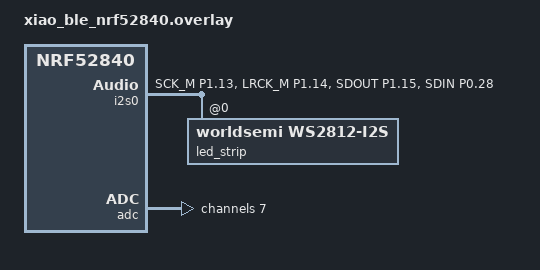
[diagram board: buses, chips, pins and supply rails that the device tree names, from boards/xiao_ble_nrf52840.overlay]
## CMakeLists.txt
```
cmake_minimum_required(VERSION 3.20.0)
find_package(Zephyr REQUIRED HINTS $ENV{ZEPHYR_BASE})
project(ws2812b_led_strip)

target_sources(app PRIVATE
    src/main.c
    src/battery_monitor.c
    src/ble.c
    src/led_matrix_16x16.c
)
```

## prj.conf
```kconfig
# LED strip driver (I2S backend — precise WS2812B timing)
CONFIG_LED_STRIP=y
CONFIG_WS2812_STRIP_I2S=y

# Bluetooth
CONFIG_BT=y
CONFIG_BT_PERIPHERAL=y
CONFIG_BT_DEVICE_NAME="Bike_LED"

# Shorter range (~few m) and slightly lower current; SoftDevice uses antenna dBm here.
CONFIG_BT_CTLR_TX_PWR_ANTENNA=-16

# ADC for batter monitoring
CONFIG_ADC=y
CONFIG_ADC_NRFX_SAADC=y

# USB serial console (CDC ACM)
CONFIG_USB_DEVICE_STACK_NEXT=y
CONFIG_USBD_CDC_ACM_CLASS=y
CONFIG_CDC_ACM_SERIAL_INITIALIZE_AT_BOOT=y
CONFIG_USB_DEVICE_STACK=n
CONFIG_SERIAL=y
CONFIG_CONSOLE=y
CONFIG_UART_CONSOLE=y
CONFIG_UART_LINE_CTRL=y
CONFIG_PRINTK=y

# Logging
CONFIG_LOG=y
CONFIG_LOG_BACKEND_UART=y
```

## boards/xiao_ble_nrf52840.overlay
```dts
#include <dt-bindings/led/led.h>

/*
 * WS2812B LED strip driven via I2S SDOUT on XIAO BLE pin D10 (P1.15).
 *
 * The I2S peripheral produces exact timing for the WS2812B protocol,
 * unlike SPI which only approximates it.
 *
 * I2S also drives clock signals on SCK (D8) and LRCK (D9) — leave
 * those pins unconnected. SDIN (D2) is unused input.
 *
 * XIAO BLE header pin mapping:
 *   D0=P0.02  D1=P0.03  D2=P0.28  D3=P0.29  D4=P0.04  D5=P0.05
 *   D6=P1.11  D7=P1.12  D8=P1.13  D9=P1.14  D10=P1.15
 */

&spi2 {
	status = "disabled";
};

&pinctrl {
	i2s0_default: i2s0_default {
		group1 {
			psels = <NRF_PSEL(I2S_SCK_M, 1, 13)>,
				<NRF_PSEL(I2S_LRCK_M, 1, 14)>,
				<NRF_PSEL(I2S_SDOUT, 1, 15)>,
				<NRF_PSEL(I2S_SDIN, 0, 28)>;
		};
	};
};

&i2s0 {
	status = "okay";
	pinctrl-0 = <&i2s0_default>;
	pinctrl-names = "default";

	led_strip: ws2812@0 {
		compatible = "worldsemi,ws2812-i2s";
		reg = <0>;
		chain-length = <256>;
		color-mapping = <LED_COLOR_ID_GREEN
				 LED_COLOR_ID_RED
				 LED_COLOR_ID_BLUE>;
		reset-delay = <500>;
	};
};

/ {
	aliases {
		led-strip = &led_strip;
	};
};


&adc {
    status = "okay";
    #address-cells = <1>;
    #size-cells = <0>;

    channel@7 {
        reg = <7>;
        zephyr,gain = "ADC_GAIN_1_6";
        zephyr,reference = "ADC_REF_INTERNAL";
        zephyr,acquisition-time = <ADC_ACQ_TIME_DEFAULT>;
        zephyr,input-positive = <NRF_SAADC_AIN7>;  /* P0.31 */
        zephyr,resolution = <12>;
    };
};
```

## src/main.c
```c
#include <stdbool.h>
#include <zephyr/kernel.h>
#include <zephyr/sys/util.h>
#include <hal/nrf_i2s.h>
#include "battery_monitor.h"
#include "ble.h"
#include "led_matrix_16x16.h"

/*
 * After a soft reset, peripheral PSEL registers can persist. The board's
 * default SPI2 uses the same pins as our I2S output, so disconnect both
 * before driver init to leave the pin mux in a clean state.
 */
static int peripheral_force_reset(void)
{
	nrf_i2s_task_trigger(NRF_I2S0, NRF_I2S_TASK_STOP);
	nrf_i2s_disable(NRF_I2S0);

	NRF_SPIM2->ENABLE = 0;
	NRF_SPIM2->PSEL.SCK = 0xFFFFFFFFUL;
	NRF_SPIM2->PSEL.MOSI = 0xFFFFFFFFUL;
	NRF_SPIM2->PSEL.MISO = 0xFFFFFFFFUL;

	NRF_SPI2->ENABLE = 0;
	NRF_SPI2->PSEL.SCK = 0xFFFFFFFFUL;
	NRF_SPI2->PSEL.MOSI = 0xFFFFFFFFUL;
	NRF_SPI2->PSEL.MISO = 0xFFFFFFFFUL;

	return 0;
}

SYS_INIT(peripheral_force_reset, PRE_KERNEL_1, 0);

static void battery_check_work_handler(struct k_work *work);
static K_WORK_DELAYABLE_DEFINE(battery_check_work, battery_check_work_handler);

static void battery_check_work_handler(struct k_work *work)
{
	ARG_UNUSED(work);

	int mv = battery_monitor_read_mv();
	battery_monitor_update_leds(mv);
	if (mv < 0) {
		printk("Battery read failed: %d\n", mv);
	} else {
		printk("Battery: %d mV\n", mv);
	}

	(void)k_work_schedule(&battery_check_work, K_SECONDS(60));
}

/* --- Main Loop --- */

int main(void)
{
	int err;
	uint32_t frame = 0;

	/* Init LED matrix */
	err = led_matrix_16x16_init();
	if (err) {
		return -1;
	}

	/* Initialize Bluetooth */
	err = ble_init();
	if (err) {
		return -1;
	}

	/* Initialize battery monitor */
	err = battery_monitor_init();
	if (err) {
		return -1;
	}
	(void)k_work_schedule(&battery_check_work, K_SECONDS(5));

	while (1) {
		if (!ble_is_active()) {
			(void)led_matrix_16x16_clear_and_show();
			frame = 0;
			ble_wait_for_active();
			continue;
		}

		switch (ble_get_mode()) {
		case STATE_LEFT:
			led_matrix_16x16_draw_left(frame);
			break;
		case STATE_RIGHT:
			led_matrix_16x16_draw_right(frame);
			break;
		case STATE_FORWARD:
		default:
			led_matrix_16x16_draw_forward(frame);
			break;
		}
		(void)led_matrix_16x16_show();
		frame++;
		k_msleep(LED_MATRIX_16X16_FRAME_DELAY_MS);
	}
	return 0;
}
```

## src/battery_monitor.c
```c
#include "battery_monitor.h"

#include <zephyr/kernel.h>
#include <zephyr/drivers/adc.h>
#include <zephyr/drivers/gpio.h>
#include <zephyr/dt-bindings/adc/nrf-saadc.h>

/* --- Voltage thresholds --- */
#define BATTERY_LOW_MV      3400
#define BATTERY_DEAD_MV     3200

/* --- ADC config --- */
#define ADC_RESOLUTION      12
#define ADC_VREF_MV         600
#define ADC_GAIN_FACTOR     6
#define R_TOP_KOHM          1000   /* R16 = 1M  */
#define R_BOT_KOHM          510    /* R17 = 510k */

/* --- Pins --- */
#define READ_BAT_PIN        14     /* P0.14 — sink low to enable divider */

static const struct device *adc_dev  = DEVICE_DT_GET(DT_NODELABEL(adc));
static const struct device *gpio_dev = DEVICE_DT_GET(DT_NODELABEL(gpio0));

#define LED0_NODE DT_ALIAS(led0)
#define LED1_NODE DT_ALIAS(led1)
#define LED2_NODE DT_ALIAS(led2)

static const struct gpio_dt_spec led0 = GPIO_DT_SPEC_GET(LED0_NODE, gpios);
static const struct gpio_dt_spec led1 = GPIO_DT_SPEC_GET(LED1_NODE, gpios);
static const struct gpio_dt_spec led2 = GPIO_DT_SPEC_GET(LED2_NODE, gpios);

static int16_t adc_buf;
static struct adc_sequence adc_seq = {
    .buffer      = &adc_buf,
    .buffer_size = sizeof(adc_buf),
    .resolution  = ADC_RESOLUTION,
};

/* --- Internal helpers --- */

static void read_enable(bool enable)
{
    if (enable) {
        gpio_pin_configure(gpio_dev, READ_BAT_PIN, GPIO_OUTPUT_LOW);
    } else {
        gpio_pin_configure(gpio_dev, READ_BAT_PIN, GPIO_DISCONNECTED);
    }
}

/* --- Public API --- */

int battery_monitor_init(void)
{
    if (!device_is_ready(adc_dev)) {
        return -ENODEV;
    }

    if (!device_is_ready(gpio_dev)) {
        return -ENODEV;
    }

    /* Configure LEDs */
    gpio_pin_configure_dt(&led0, GPIO_OUTPUT_INACTIVE);
    gpio_pin_configure_dt(&led1, GPIO_OUTPUT_INACTIVE);
    gpio_pin_configure_dt(&led2, GPIO_OUTPUT_INACTIVE);

    /* Start with divider disabled */
    read_enable(false);

    /* Setup ADC channel */
    struct adc_channel_cfg ch_cfg = {
        .gain             = ADC_GAIN_1_6,
        .reference        = ADC_REF_INTERNAL,
        .acquisition_time = ADC_ACQ_TIME_DEFAULT,
        .channel_id       = 7,
        .input_positive   = NRF_SAADC_AIN7,  /* P0.31 */
    };

    int err = adc_channel_setup(adc_dev, &ch_cfg);
    if (err) {
        return err;
    }

    adc_seq.channels = BIT(7);

    return 0;
}

int battery_monitor_read_mv(void)
{
    read_enable(true);
    k_msleep(5);  /* let divider settle */

    int err = adc_read(adc_dev, &adc_seq);
    read_enable(false);

    if (err) {
        return err;
    }

    int32_t mv = adc_buf;
    adc_raw_to_millivolts(ADC_VREF_MV, ADC_GAIN_1_6, ADC_RESOLUTION, &mv);

    /* Scale up through divider */
    int voltage = (int)(mv * (R_TOP_KOHM + R_BOT_KOHM) / R_BOT_KOHM);

    return voltage;
}

void battery_monitor_update_leds(int mv)
{
    if (mv < 0) {
        return;
    }

    if (mv < BATTERY_DEAD_MV) {
        gpio_pin_set_dt(&led0, 1);
        gpio_pin_set_dt(&led1, 1);
        gpio_pin_set_dt(&led2, 1);
    } else if (mv < BATTERY_LOW_MV) {
        gpio_pin_set_dt(&led0, 1);
        gpio_pin_set_dt(&led1, 0);
        gpio_pin_set_dt(&led2, 0);
    } else {
        gpio_pin_set_dt(&led0, 0);
        gpio_pin_set_dt(&led1, 0);
        gpio_pin_set_dt(&led2, 0);
    }
}
```

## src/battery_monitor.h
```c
#ifndef BATTERY_MONITOR_H
#define BATTERY_MONITOR_H

#include <stdint.h>

/**
 * @brief Initialize battery monitor (ADC + enable pin)
 * @return 0 on success, negative errno on failure
 */
int battery_monitor_init(void);

/**
 * @brief Read battery voltage
 * @return voltage in millivolts, or -1 on error
 */
int battery_monitor_read_mv(void);

/**
 * @brief Update onboard LEDs based on voltage
 * @param mv voltage in millivolts from battery_monitor_read_mv()
 */
void battery_monitor_update_leds(int mv);

#endif /* BATTERY_MONITOR_H */
```

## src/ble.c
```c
#include "ble.h"

#include <errno.h>

#include <zephyr/bluetooth/bluetooth.h>
#include <zephyr/bluetooth/conn.h>
#include <zephyr/bluetooth/gatt.h>
#include <zephyr/bluetooth/hci.h>
#include <zephyr/bluetooth/uuid.h>
#include <zephyr/kernel.h>
#include <zephyr/sys/util.h>

static volatile bool ble_connected;
static volatile bool leds_active;
static volatile enum bike_state current_mode = STATE_FORWARD;

static K_SEM_DEFINE(wake_sem, 0, 16);

static struct bt_uuid_128 bike_svc_uuid = BT_UUID_INIT_128(
	BT_UUID_128_ENCODE(0x12345678, 0x1234, 0x5678, 0x1234, 0x567812345678));

static struct bt_uuid_128 bike_char_uuid = BT_UUID_INIT_128(
	BT_UUID_128_ENCODE(0x12345678, 0x1234, 0x5678, 0x1234, 0x567812345679));

static ssize_t write_bike_mode(struct bt_conn *conn, const struct bt_gatt_attr *attr,
			       const void *buf, uint16_t len, uint16_t offset, uint8_t flags)
{
	ARG_UNUSED(conn);
	ARG_UNUSED(attr);
	ARG_UNUSED(offset);
	ARG_UNUSED(flags);

	if (len < 1) {
		return len;
	}

	const uint8_t *value = buf;

	switch (value[0]) {
	case 0:
		leds_active = false;
		break;
	case 1:
		leds_active = true;
		current_mode = STATE_FORWARD;
		break;
	case 2:
		leds_active = true;
		current_mode = STATE_LEFT;
		break;
	case 3:
		leds_active = true;
		current_mode = STATE_RIGHT;
		break;
	default:
		break;
	}

	k_sem_give(&wake_sem);
	return len;
}

static const struct bt_data ad[] = {
	BT_DATA_BYTES(BT_DATA_FLAGS, (BT_LE_AD_GENERAL | BT_LE_AD_NO_BREDR)),
	BT_DATA_BYTES(BT_DATA_UUID128_ALL,
		      BT_UUID_128_ENCODE(0x12345678, 0x1234, 0x5678, 0x1234, 0x567812345678)),
};

static const struct bt_data sd[] = {
	BT_DATA(BT_DATA_NAME_COMPLETE, CONFIG_BT_DEVICE_NAME, sizeof(CONFIG_BT_DEVICE_NAME) - 1),
};

/*
 * BLE advertising interval unit = 0.625 ms
 * 5000 ms / 0.625 = 8000 = 0x1F40
 */
static const struct bt_le_adv_param slow_adv_params =
	BT_LE_ADV_PARAM_INIT(BT_LE_ADV_OPT_CONN, 0x1F40, 0x1F40, NULL);

static void restart_adv_work_handler(struct k_work *work);
static K_WORK_DELAYABLE_DEFINE(restart_adv_work, restart_adv_work_handler);

static void switch_to_slow_adv(struct k_work *work)
{
	ARG_UNUSED(work);
	(void)bt_le_adv_stop();
	(void)bt_le_adv_start(&slow_adv_params, ad, ARRAY_SIZE(ad), sd, ARRAY_SIZE(sd));
}

static K_WORK_DELAYABLE_DEFINE(slow_adv_work, switch_to_slow_adv);

static void restart_adv_work_handler(struct k_work *work)
{
	int err;
	ARG_UNUSED(work);

	(void)bt_le_adv_stop();
	err = bt_le_adv_start(BT_LE_ADV_CONN_FAST_1, ad, ARRAY_SIZE(ad), sd, ARRAY_SIZE(sd));
	if (err == 0 || err == -EALREADY) {
		/* start fast, schedule slowdown after 30s */
		(void)k_work_schedule(&slow_adv_work, K_SECONDS(30));
		return;
	}

	(void)k_work_schedule(&restart_adv_work, K_MSEC(250));
}

static void on_connected(struct bt_conn *conn, uint8_t err)
{
	ARG_UNUSED(conn);

	if (err == 0) {
		ble_connected = true;
		k_sem_give(&wake_sem);
	}
}

static void on_disconnected(struct bt_conn *conn, uint8_t reason)
{
	ARG_UNUSED(conn);
	ARG_UNUSED(reason);

	ble_connected = false;
	leds_active = false;
	k_sem_give(&wake_sem);
	(void)k_work_schedule(&restart_adv_work, K_MSEC(150));
}

BT_CONN_CB_DEFINE(conn_callbacks) = {
	.connected = on_connected,
	.disconnected = on_disconnected,
};

BT_GATT_SERVICE_DEFINE(bike_svc,
	BT_GATT_PRIMARY_SERVICE(&bike_svc_uuid),
	BT_GATT_CHARACTERISTIC(&bike_char_uuid.uuid,
			       BT_GATT_CHRC_WRITE,
			       BT_GATT_PERM_WRITE,
			       NULL, write_bike_mode, NULL),
);

int ble_init(void)
{
	int err;

	err = bt_enable(NULL);
	if (err) {
		return err;
	}

	err = bt_le_adv_start(BT_LE_ADV_CONN_FAST_1, ad, ARRAY_SIZE(ad), sd, ARRAY_SIZE(sd));
	if (err) {
		return err;
	}

	/* start fast, schedule slowdown after 30s */
	(void)k_work_schedule(&slow_adv_work, K_SECONDS(30));

	return 0;
}

bool ble_is_active(void)
{
	return ble_connected && leds_active;
}

void ble_wait_for_active(void)
{
	while (!ble_is_active()) {
		(void)k_sem_take(&wake_sem, K_FOREVER);
	}
}

enum bike_state ble_get_mode(void)
{
	return current_mode;
}
```

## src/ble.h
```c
#pragma once

#include <stdbool.h>

enum bike_state { STATE_FORWARD = 0, STATE_LEFT = 1, STATE_RIGHT = 2 };

/**
 * Initialize Bluetooth stack, GATT service, and start advertising.
 *
 * Returns 0 on success, negative errno-style value on failure.
 */
int ble_init(void);

/**
 * True when connected and LEDs are enabled by the central.
 */
bool ble_is_active(void);

/**
 * Block until BLE becomes active (connected + LEDs enabled).
 *
 * Safe to call repeatedly from the main loop.
 */
void ble_wait_for_active(void);

/**
 * Current requested bike mode (valid when active, but can be read anytime).
 */
enum bike_state ble_get_mode(void);
```

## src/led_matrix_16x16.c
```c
#include "led_matrix_16x16.h"

#include <string.h>

#include <zephyr/device.h>
#include <zephyr/drivers/led_strip.h>

/* --- LED Matrix Configuration --- */
#define STRIP_NODE DT_ALIAS(led_strip)
#define WIDTH  16
#define HEIGHT 16
#define NUM_PIXELS (WIDTH * HEIGHT)

#define FWD_R 32
#define FWD_G 32
#define FWD_B 32
#define AMBER_R 64
#define AMBER_G 32
#define AMBER_B 0
#define LED_MATRIX_16X16_DRAW_CIRCLES

static const struct device *const strip = DEVICE_DT_GET(STRIP_NODE);
static struct led_rgb pixels[NUM_PIXELS];

static uint32_t get_idx(int x, int y)
{
	if (y % 2 != 0) {
		return (uint32_t)((y * WIDTH) + (WIDTH - 1 - x));
	}
	return (uint32_t)((y * WIDTH) + x);
}

static void plot(int x, int y, uint8_t r, uint8_t g, uint8_t b)
{
	if (x < 0 || x >= WIDTH || y < 0 || y >= HEIGHT) {
		return;
	}
	struct led_rgb *p = &pixels[get_idx(x, y)];

	p->r = r;
	p->g = g;
	p->b = b;
}

#ifndef LED_MATRIX_16X16_DRAW_CIRCLES
static int wrap_y(int y)
{
	y %= HEIGHT;
	if (y < 0) {
		y += HEIGHT;
	}
	return y;
}

static int wrap_x(int x)
{
	x %= WIDTH;
	if (x < 0) {
		x += WIDTH;
	}
	return x;
}
#endif /* !LED_MATRIX_16X16_DRAW_CIRCLES */

#ifndef LED_MATRIX_16X16_DRAW_CIRCLES
static void blit_up_arrow(int origin_y, uint8_t r, uint8_t g, uint8_t b)
{
	const int tip = origin_y;

	plot(7, wrap_y(tip), r, g, b);
	plot(8, wrap_y(tip), r, g, b);
	for (int x = 6; x <= 9; x++) {
		plot(x, wrap_y(tip + 1), r, g, b);
	}
	for (int x = 5; x <= 10; x++) {
		plot(x, wrap_y(tip + 2), r, g, b);
	}
	for (int dy = 3; dy < 11; dy++) {
		plot(7, wrap_y(tip + dy), r, g, b);
		plot(8, wrap_y(tip + dy), r, g, b);
	}
}

static void blit_left_arrow(int origin_x, uint8_t r, uint8_t g, uint8_t b)
{
	const int tip = origin_x;

	plot(wrap_x(tip), 7, r, g, b);
	plot(wrap_x(tip), 8, r, g, b);
	for (int y = 6; y <= 9; y++) {
		plot(wrap_x(tip + 1), y, r, g, b);
	}
	for (int y = 5; y <= 10; y++) {
		plot(wrap_x(tip + 2), y, r, g, b);
	}
	for (int dx = 3; dx < 11; dx++) {
		plot(wrap_x(tip + dx), 7, r, g, b);
		plot(wrap_x(tip + dx), 8, r, g, b);
	}
}

static void blit_right_arrow(int origin_x, uint8_t r, uint8_t g, uint8_t b)
{
	const int tip = origin_x;

	plot(wrap_x(tip), 7, r, g, b);
	plot(wrap_x(tip), 8, r, g, b);
	for (int y = 6; y <= 9; y++) {
		plot(wrap_x(tip - 1), y, r, g, b);
	}
	for (int y = 5; y <= 10; y++) {
		plot(wrap_x(tip - 2), y, r, g, b);
	}
	for (int dx = 3; dx < 11; dx++) {
		plot(wrap_x(tip - dx), 7, r, g, b);
		plot(wrap_x(tip - dx), 8, r, g, b);
	}
}
#endif /* !LED_MATRIX_16X16_DRAW_CIRCLES */

#ifdef LED_MATRIX_16X16_DRAW_CIRCLES
static void blit_filled_circle(int cx, int cy, int radius, uint8_t r, uint8_t g, uint8_t b)
{
	const int r2 = radius * radius;

	for (int y = 0; y < HEIGHT; y++) {
		for (int x = 0; x < WIDTH; x++) {
			const int dx = x - cx;
			const int dy = y - cy;
			if ((dx * dx + dy * dy) <= r2) {
				plot(x, y, r, g, b);
			}
		}
	}
}

static void blit_half_ring(int cx, int cy, int inner_radius, int outer_radius, bool right_half,
			   uint8_t r, uint8_t g, uint8_t b)
{
	const int inner2 = inner_radius * inner_radius;
	const int outer2 = outer_radius * outer_radius;

	for (int y = 0; y < HEIGHT; y++) {
		for (int x = 0; x < WIDTH; x++) {
			if (right_half) {
				if (x < cx) {
					continue;
				}
			} else {
				if (x > cx) {
					continue;
				}
			}

			const int dx = x - cx;
			const int dy = y - cy;
			const int d2 = (dx * dx + dy * dy);
			if (d2 <= outer2 && d2 >= inner2) {
				plot(x, y, r, g, b);
			}
		}
	}
}
#endif /* LED_MATRIX_16X16_DRAW_CIRCLES */

void led_matrix_16x16_draw_forward(uint32_t frame)
{
#ifdef LED_MATRIX_16X16_DRAW_CIRCLES
	ARG_UNUSED(frame);
	memset(pixels, 0, sizeof(pixels));

	/* Center at (7,7) gives a nice symmetric circle on 16x16. */
	blit_filled_circle(7, 7, 3, FWD_R, 0, 0);
#else
	memset(pixels, 0, sizeof(pixels));
	int origin_y = -(int)(frame % HEIGHT);

	blit_up_arrow(origin_y, FWD_R, FWD_G, FWD_B);
#endif
}

void led_matrix_16x16_draw_left(uint32_t frame)
{
#ifdef LED_MATRIX_16X16_DRAW_CIRCLES
	memset(pixels, 0, sizeof(pixels));

	/* Base: constant red filled circle in the middle (radius 3). */
	blit_filled_circle(7, 7, 3, FWD_R, 0, 0);

	/* Overlay: blinking amber half ring around the red circle (left side). */
	const bool blink_on = ((frame / 4U) % 2U) == 0U;
	if (blink_on) {
		blit_half_ring(7, 7, 4, 7, false, AMBER_R, AMBER_G, AMBER_B);
	}
#else
	memset(pixels, 0, sizeof(pixels));
	int origin_x = -(int)(frame % WIDTH);

	blit_left_arrow(origin_x, AMBER_R, AMBER_G, AMBER_B);
#endif
}

void led_matrix_16x16_draw_right(uint32_t frame)
{
#ifdef LED_MATRIX_16X16_DRAW_CIRCLES
	memset(pixels, 0, sizeof(pixels));

	/* Base: constant red filled circle in the middle (radius 3). */
	blit_filled_circle(7, 7, 3, FWD_R, 0, 0);

	/* Overlay: blinking amber half ring around the red circle (right side). */
	const bool blink_on = ((frame / 4U) % 2U) == 0U;
	if (blink_on) {
		blit_half_ring(7, 7, 4, 7, true, AMBER_R, AMBER_G, AMBER_B);
	}
#else
	memset(pixels, 0, sizeof(pixels));
	int origin_x = (int)(frame % WIDTH);

	blit_right_arrow(origin_x, AMBER_R, AMBER_G, AMBER_B);
#endif
}

int led_matrix_16x16_init(void)
{
	if (!device_is_ready(strip)) {
		return -1;
	}
	return 0;
}

void led_matrix_16x16_clear(void)
{
	memset(pixels, 0, sizeof(pixels));
}

int led_matrix_16x16_show(void)
{
	return led_strip_update_rgb(strip, pixels, NUM_PIXELS);
}

int led_matrix_16x16_clear_and_show(void)
{
	led_matrix_16x16_clear();
	return led_matrix_16x16_show();
}
```

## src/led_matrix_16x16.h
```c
#pragma once

#include <stdint.h>

#define LED_MATRIX_16X16_FRAME_DELAY_MS 100

/*
 * Optional alternate draw mode:
 * - Forward: filled red circle
 * - Left/Right: filled red circle + blinking amber half circle on the side
 *
 * Enable by defining LED_MATRIX_16X16_DRAW_CIRCLES (e.g. via compiler flags).
 */
#ifdef LED_MATRIX_16X16_DRAW_CIRCLES
#define LED_MATRIX_16X16_DRAW_MODE_NAME "circles"
#else
#define LED_MATRIX_16X16_DRAW_MODE_NAME "arrows"
#endif

/**
 * Initialize the 16x16 LED matrix (WS2812 strip via Zephyr led_strip).
 *
 * Returns 0 on success, negative errno-style value on failure.
 */
int led_matrix_16x16_init(void);

/**
 * Render a forward arrow frame into the internal pixel buffer.
 */
void led_matrix_16x16_draw_forward(uint32_t frame);

/**
 * Render a left arrow frame into the internal pixel buffer.
 */
void led_matrix_16x16_draw_left(uint32_t frame);

/**
 * Render a right arrow frame into the internal pixel buffer.
 */
void led_matrix_16x16_draw_right(uint32_t frame);

/**
 * Clear internal buffer (does not transmit).
 */
void led_matrix_16x16_clear(void);

/**
 * Transmit the current buffer to the LEDs.
 *
 * Returns 0 on success, negative errno-style value on failure.
 */
int led_matrix_16x16_show(void);

/**
 * Convenience: clear buffer and immediately transmit.
 */
int led_matrix_16x16_clear_and_show(void);
```
